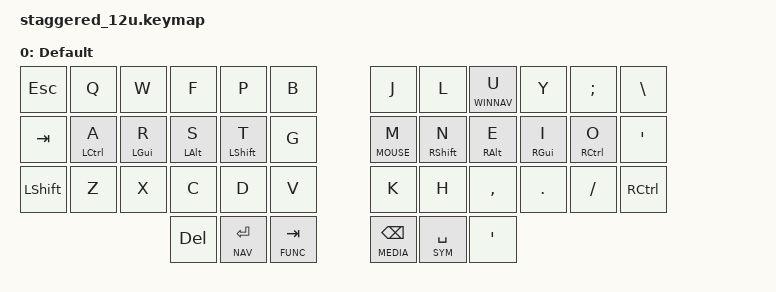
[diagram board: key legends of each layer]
#include <behaviors.dtsi>
#include <dt-bindings/zmk/keys.h>
#include <dt-bindings/zmk/rgb.h>
#include <dt-bindings/zmk/bt.h>
#include <dt-bindings/zmk/ext_power.h>
#include <dt-bindings/zmk/outputs.h>

#define DEFAULT 0
#define NAV     1
#define SYM     2
#define FUNC    3
#define MEDIA   4
#define MOUSE   5
#define WINNAV  6

&caps_word {
    continue-list = <UNDERSCORE MINUS>;
};

/ {
    combos {
        compatible = "zmk,combos";
        combo_undo {
            timeout-ms = <50>;
            key-positions = <25 26>;
            bindings = <&kp LC(Z)>;
        };
        combo_q {
            timeout-ms = <50>;
            key-positions = <26 27>;
            bindings = <&kp Q>;
        };
        combo_semicolon {
            timeout-ms = <50>;
            key-positions = <32 33>;
            bindings = <&kp SEMI>;
        };
    };
};

/ {

    behaviors {
        hm: homerow_mods {
            compatible = "zmk,behavior-hold-tap";
            label = "HOMEROW_MODS";
            #binding-cells = <2>;
            tapping-term-ms = <200>;
            quick_tap_ms = <0>;
            flavor = "balanced";
            bindings = <&kp>, <&kp>;
        };
        hs: homerow_shift {
            compatible = "zmk,behavior-hold-tap";
            label = "HOMEROW_SHIFT";
            #binding-cells = <2>;
            tapping-term-ms = <175>;
            quick_tap_ms = <0>;
            flavor = "balanced";
            bindings = <&kp>, <&kp>;
        };
    };

    keymap {
        compatible = "zmk,keymap";

        default_layer {
            label = "Default";

            bindings = <
    &kp ESC    &kp Q        &kp W        &kp F       &kp P         &kp B                                       &kp J         &kp L        &lt WINNAV U  &kp Y       &kp SEMI    &kp BSLH
    &kp TAB    &hm LCTL A   &hm LGUI R   &hm LALT S  &hs LSHIFT T  &kp G                                       &lt MOUSE M   &hs RSHIFT N &hm RALT E    &hm RGUI I  &hm RCTL O  &kp SQT
    &kp LSHIFT &kp Z        &kp X        &kp C       &kp D         &kp V                                       &kp K         &kp H        &kp COMMA     &kp DOT     &kp FSLH    &kp RCTRL
                                                     &kp DEL       &lt NAV RET  &lt FUNC TAB  &lt MEDIA BSPC   &lt SYM SPACE &kp SQT
            >;
        };

    };
};
